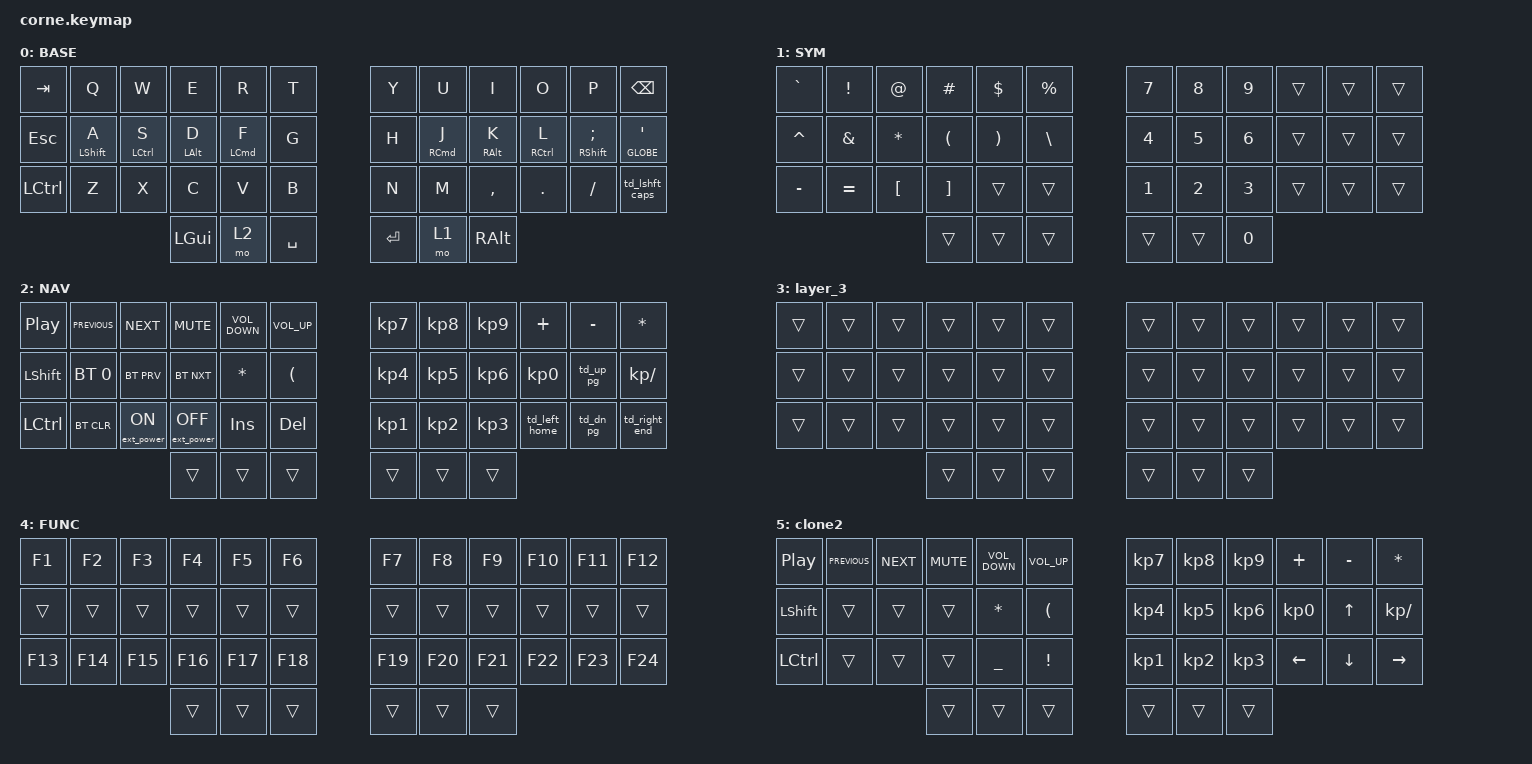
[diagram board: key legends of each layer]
#include <behaviors.dtsi>
#include <dt-bindings/zmk/bt.h>
#include <dt-bindings/zmk/ext_power.h>
#include <dt-bindings/zmk/keys.h>

/ {
    combos {
        compatible = "zmk,combos";

        function {
            bindings = <&tog 4>;
            key-positions = <36 37 38>;
        };

        five {
            bindings = <&tog 5>;
            key-positions = <39 40 41>;
        };

        delete {
            bindings = <&kp DEL>;
            key-positions = <10 11>;
        };
    };

    behaviors {
        td_lshft_caps: td_lshft_caps {
            compatible = "zmk,behavior-tap-dance";
            label = "TD_LSHFT_CAPS";
            #binding-cells = <0>;
            bindings = <&kp LSHFT>, <&kp CAPS>;
        };

        td_left_home: td_left_home {
            compatible = "zmk,behavior-tap-dance";
            #binding-cells = <0>;
            bindings = <&kp LEFT>, <&kp HOME>;
        };

        td_right_end: td_right_end {
            compatible = "zmk,behavior-tap-dance";
            #binding-cells = <0>;
            bindings = <&kp RIGHT>, <&kp END>;
        };

        hml: homewrow_mods_left {
            compatible = "zmk,behavior-hold-tap";
            label = "HOMEROW_MODS_LEFT_HAND";
            bindings = <&kp>, <&kp>;

            #binding-cells = <2>;
            tapping-term-ms = <200>;
            hold-trigger-key-positions = <6 7 8 9 10 11 18 19 20 21 22 23 30 31 32 33 34 35 39 40 41>;
            quick-tap-ms = <175>;
            flavor = "balanced";
            hold-trigger-on-release;
        };

        hmr: homewrow_mods_right {
            compatible = "zmk,behavior-hold-tap";
            label = "HOMEROW_MODS_RIGHT_HAND";
            bindings = <&kp>, <&kp>;

            #binding-cells = <2>;
            tapping-term-ms = <200>;
            hold-trigger-key-positions = <0 1 2 3 4 5 12 13 14 15 16 17 24 25 26 27 28 29 36 37 38>;
            quick-tap-ms = <175>;
            flavor = "balanced";
            hold-trigger-on-release;
        };

        td_up_pg: td_up_pg {
            compatible = "zmk,behavior-tap-dance";
            #binding-cells = <0>;
            bindings = <&kp UP>, <&kp PG_UP>;
        };

        td_dn_pg: td_dn_pg {
            compatible = "zmk,behavior-tap-dance";
            #binding-cells = <0>;
            bindings = <&kp DOWN>, <&kp PG_DN>;
        };

        cpsw: cpsw {
            compatible = "zmk,behavior-hold-tap";
            label = "CPSW";
            bindings = <&kp>, <&caps_word>;

            #binding-cells = <2>;
            tapping-term-ms = <200>;
            flavor = "balanced";
            hold-trigger-key-positions = <0 1 2 3 4 5 6 7 8 9 10 11 12 13 14 15 16 17 18 19 20 21 22 23 24 25 26 27 28 29 30 31 32 33 34 35 36 37 38 39 40 41>;
            quick-tap-ms = <175>;
        };
    };

    keymap {
        compatible = "zmk,keymap";

        default_layer {
            bindings = <
&kp TAB    &kp Q         &kp W         &kp E        &kp R        &kp T        &kp Y       &kp U        &kp I        &kp O         &kp P                 &kp BSPC
&kp ESC    &hml LSHFT A  &hml LCTRL S  &hml LALT D  &hml LCMD F  &kp G        &kp H       &hmr RCMD J  &hmr RALT K  &hmr RCTRL L  &hmr RSHFT SEMICOLON  &hmr GLOBE SQT
&kp LCTRL  &kp Z         &kp X         &kp C        &kp V        &kp B        &kp N       &kp M        &kp COMMA    &kp DOT       &kp FSLH              &td_lshft_caps
                                       &kp LGUI     &mo 2        &kp SPACE    &kp RETURN  &mo 1        &kp RALT
            >;

            label = "BASE";
        };

        symbols {
            bindings = <
&kp GRAVE  &kp EXCL   &kp AT    &kp HASH  &kp DLLR  &kp PRCNT    &kp N7  &kp N8  &kp N9  &trans  &trans  &trans
&kp CARET  &kp AMPS   &kp STAR  &kp LPAR  &kp RPAR  &kp BSLH     &kp N4  &kp N5  &kp N6  &trans  &trans  &trans
&kp MINUS  &kp EQUAL  &kp LBKT  &kp RBKT  &trans    &trans       &kp N1  &kp N2  &kp N3  &trans  &trans  &trans
                                &trans    &trans    &trans       &trans  &trans  &kp N0
            >;

            label = "SYM";
        };

        numpad {
            bindings = <
&kp C_PLAY_PAUSE  &kp C_PREVIOUS  &kp C_NEXT        &kp C_MUTE         &kp C_VOLUME_DOWN  &kp C_VOLUME_UP         &kp KP_NUMBER_7  &kp KP_NUMBER_8  &kp KP_NUMBER_9  &kp PLUS         &kp MINUS  &kp ASTERISK
&kp LSHFT         &bt BT_SEL 0    &bt BT_PRV        &bt BT_NXT         &kp ASTERISK       &kp LEFT_PARENTHESIS    &kp KP_NUMBER_4  &kp KP_NUMBER_5  &kp KP_NUMBER_6  &kp KP_NUMBER_0  &td_up_pg  &kp KP_DIVIDE
&kp LCTRL         &bt BT_CLR      &ext_power EP_ON  &ext_power EP_OFF  &kp INS            &kp DEL                 &kp KP_NUMBER_1  &kp KP_NUMBER_2  &kp KP_NUMBER_3  &td_left_home    &td_dn_pg  &td_right_end
                                                    &trans             &trans             &trans                  &trans           &trans           &trans
            >;

            label = "NAV";
        };

        layer_3 {
            bindings = <
&trans  &trans  &trans  &trans  &trans  &trans    &trans  &trans  &trans  &trans  &trans  &trans
&trans  &trans  &trans  &trans  &trans  &trans    &trans  &trans  &trans  &trans  &trans  &trans
&trans  &trans  &trans  &trans  &trans  &trans    &trans  &trans  &trans  &trans  &trans  &trans
                        &trans  &trans  &trans    &trans  &trans  &trans
            >;
        };

        function {
            bindings = <
&kp F1   &kp F2   &kp F3   &kp F4   &kp F5   &kp F6     &kp F7   &kp F8   &kp F9   &kp F10  &kp F11  &kp F12
&trans   &trans   &trans   &trans   &trans   &trans     &trans   &trans   &trans   &trans   &trans   &trans
&kp F13  &kp F14  &kp F15  &kp F16  &kp F17  &kp F18    &kp F19  &kp F20  &kp F21  &kp F22  &kp F23  &kp F24
                           &trans   &trans   &trans     &trans   &trans   &trans
            >;

            label = "FUNC";
        };

        clone2 {
            bindings = <
&kp C_PLAY_PAUSE  &kp C_PREVIOUS  &kp C_NEXT  &kp C_MUTE  &kp C_VOLUME_DOWN  &kp C_VOLUME_UP         &kp KP_NUMBER_7  &kp KP_NUMBER_8  &kp KP_NUMBER_9  &kp PLUS         &kp MINUS     &kp ASTERISK
&kp LSHFT         &trans          &trans      &trans      &kp ASTERISK       &kp LEFT_PARENTHESIS    &kp KP_NUMBER_4  &kp KP_NUMBER_5  &kp KP_NUMBER_6  &kp KP_NUMBER_0  &kp UP_ARROW  &kp KP_DIVIDE
&kp LCTRL         &trans          &trans      &trans      &kp UNDER          &kp EXCLAMATION         &kp KP_NUMBER_1  &kp KP_NUMBER_2  &kp KP_NUMBER_3  &kp LEFT         &kp DOWN      &kp RIGHT
                                              &trans      &trans             &trans                  &trans           &trans           &trans
            >;
        };
    };

    conditional_layers {
        compatible = "zmk,conditional-layers";

        extra_layer {
            if-layers = <1 2>;
            then-layer = <3>;
        };
    };
};
